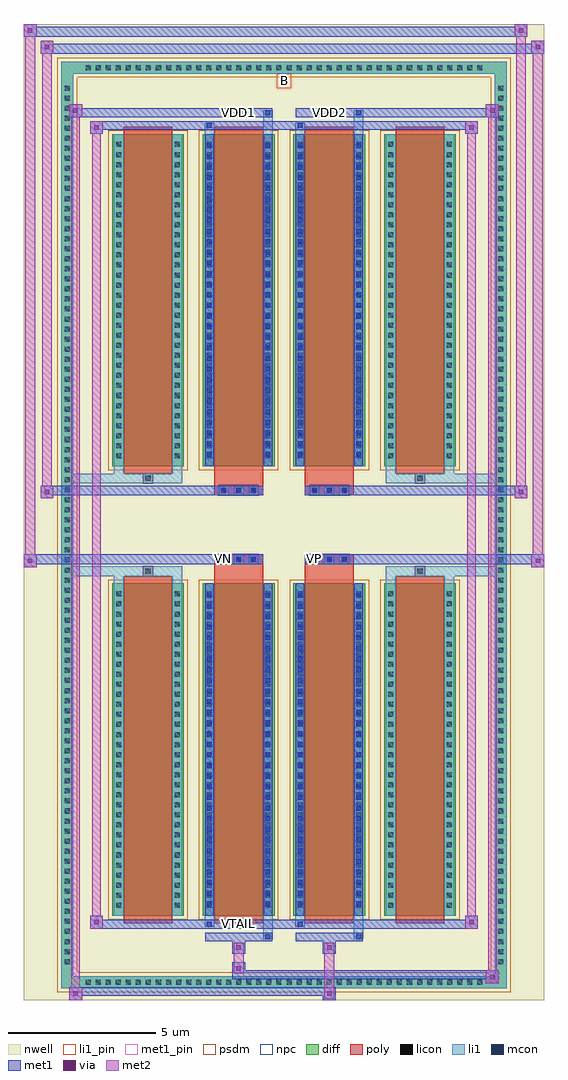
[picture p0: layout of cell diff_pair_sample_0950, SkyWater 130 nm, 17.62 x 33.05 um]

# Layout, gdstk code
import gdstk
lib = gdstk.Library(unit=1e-6, precision=5e-09)
def R(c, l, rs):  # rectangles x0, y0, x1, y1
    for r in rs: c.add(gdstk.rectangle(r[:2], r[2:], *l))
def A(c, l, x, y, w, h, nx, ny, dx, dy):  # array of equal rectangles
    R(c, l, [(x+i*dx, y+j*dy, x+i*dx+w, y+j*dy+h) for i in range(nx) for j in range(ny)])
def P(c, l, *ps):  # polygons
    for p in ps: c.add(gdstk.Polygon(p, *l))
nwell = (64, 20)
diff = (65, 20)
poly = (66, 20)
licon = (66, 44)
li1_pin = (67, 16)
li1 = (67, 20)
mcon = (67, 44)
met1_pin = (68, 16)
met1 = (68, 20)
via = (68, 44)
met2 = (69, 20)
psdm = (94, 20)
npc = (95, 20)

diff_pair_sample_0950 = lib.new_cell('diff_pair_sample_0950')
R(diff_pair_sample_0950, nwell, [(-8.81,-16.09,8.81,16.96), (-6.13,-14.28,-0.01,-0.8), (0.01,-14.28,6.13,-0.8), (-6.13,0.8,-0.01,14.28), (0.01,0.8,6.13,14.28)])
A(diff_pair_sample_0950, diff, -6.835, -15.69, 0.41, 0.41, 40, 2, 0.34, 30.97)
A(diff_pair_sample_0950, diff, -7.54, -14.995, 0.41, 0.41, 1, 88, 0, 0.34)
A(diff_pair_sample_0950, diff, 7.13, -14.995, 0.41, 0.41, 1, 88, 0, 0.34)
A(diff_pair_sample_0950, diff, -5.82, -13.235, 2.43, 11.25, 4, 2, 3.07, 15.22)
R(diff_pair_sample_0950, diff, [(-6.835,-15.69,6.835,-15.28), (-7.54,-14.995,-7.13,14.995), (7.13,-14.995,7.54,14.995), (-6.835,15.28,6.835,15.69)])
P(diff_pair_sample_0950, diff, [(7.54,15.69),(-7.54,15.69),(-7.54,-15.28),(-7.13,-15.28),(-7.13,15.28),(7.13,15.28),(7.13,-15.28),(-7.13,-15.28),(-7.54,-15.28),(-7.54,-15.69),(7.54,-15.69)])
A(diff_pair_sample_0950, poly, -5.43, -13.485, 1.65, 11.75, 4, 2, 3.07, 15.22)
A(diff_pair_sample_0950, poly, -2.2, -1.33, 0.33, 0.33, 3, 2, 0.5, 2.33)
A(diff_pair_sample_0950, poly, 0.87, -1.33, 0.33, 0.33, 3, 2, 0.5, 2.33)
R(diff_pair_sample_0950, poly, [(-4.77,-1.735,-4.44,-1.405), (-4.77,-1.735,-4.44,-1.405), (-2.36,-1.735,-0.71,-1.33), (0.71,-1.735,2.36,-1.33), (4.44,-1.735,4.77,-1.405), (4.44,-1.735,4.77,-1.405), (-2.36,-1.33,-0.71,-1), (0.71,-1.33,2.36,-1), (-2.36,1,-0.71,1.33), (0.71,1,2.36,1.33), (-2.36,1.33,-0.71,1.735), (0.71,1.33,2.36,1.735), (-4.77,1.405,-4.44,1.735), (-4.77,1.405,-4.44,1.735), (4.44,1.405,4.77,1.735), (4.44,1.405,4.77,1.735)])
A(diff_pair_sample_0950, licon, -6.715, -15.57, 0.17, 0.17, 40, 2, 0.34, 30.97)
A(diff_pair_sample_0950, licon, -7.42, -14.875, 0.17, 0.17, 1, 88, 0, 0.34)
A(diff_pair_sample_0950, licon, 7.25, -14.875, 0.17, 0.17, 1, 88, 0, 0.34)
A(diff_pair_sample_0950, licon, -5.68, -12.965, 0.17, 0.17, 1, 32, 0, 0.34)
A(diff_pair_sample_0950, licon, -3.7, -12.965, 0.17, 0.17, 1, 32, 0, 0.34)
A(diff_pair_sample_0950, licon, -2.61, -12.965, 0.17, 0.17, 1, 32, 0, 0.34)
A(diff_pair_sample_0950, licon, -0.63, -12.965, 0.17, 0.17, 1, 32, 0, 0.34)
A(diff_pair_sample_0950, licon, 0.46, -12.965, 0.17, 0.17, 1, 32, 0, 0.34)
A(diff_pair_sample_0950, licon, 2.44, -12.965, 0.17, 0.17, 1, 32, 0, 0.34)
A(diff_pair_sample_0950, licon, 3.53, -12.965, 0.17, 0.17, 1, 32, 0, 0.34)
A(diff_pair_sample_0950, licon, 5.51, -12.965, 0.17, 0.17, 1, 32, 0, 0.34)
A(diff_pair_sample_0950, licon, -2.12, -1.25, 0.17, 0.17, 3, 2, 0.5, 2.33)
A(diff_pair_sample_0950, licon, 0.95, -1.25, 0.17, 0.17, 3, 2, 0.5, 2.33)
A(diff_pair_sample_0950, licon, -5.68, 2.255, 0.17, 0.17, 1, 32, 0, 0.34)
A(diff_pair_sample_0950, licon, -3.7, 2.255, 0.17, 0.17, 1, 32, 0, 0.34)
A(diff_pair_sample_0950, licon, -2.61, 2.255, 0.17, 0.17, 1, 32, 0, 0.34)
A(diff_pair_sample_0950, licon, -0.63, 2.255, 0.17, 0.17, 1, 32, 0, 0.34)
A(diff_pair_sample_0950, licon, 0.46, 2.255, 0.17, 0.17, 1, 32, 0, 0.34)
A(diff_pair_sample_0950, licon, 2.44, 2.255, 0.17, 0.17, 1, 32, 0, 0.34)
A(diff_pair_sample_0950, licon, 3.53, 2.255, 0.17, 0.17, 1, 32, 0, 0.34)
A(diff_pair_sample_0950, licon, 5.51, 2.255, 0.17, 0.17, 1, 32, 0, 0.34)
R(diff_pair_sample_0950, licon, [(-4.69,-1.655,-4.52,-1.485), (4.52,-1.655,4.69,-1.485), (-4.69,1.485,-4.52,1.655), (4.52,1.485,4.69,1.655)])
R(diff_pair_sample_0950, li1_pin, [(-0.25,14.78,0.25,15.28)])
A(diff_pair_sample_0950, li1, -6.795, -15.65, 0.33, 0.33, 40, 2, 0.34, 30.97)
A(diff_pair_sample_0950, li1, -7.5, -14.955, 0.33, 0.33, 1, 88, 0, 0.34)
A(diff_pair_sample_0950, li1, 7.17, -14.955, 0.33, 0.33, 1, 88, 0, 0.34)
A(diff_pair_sample_0950, li1, -5.76, -13.045, 0.33, 0.33, 1, 32, 0, 0.34)
A(diff_pair_sample_0950, li1, -3.78, -13.045, 0.33, 0.33, 1, 32, 0, 0.34)
A(diff_pair_sample_0950, li1, -2.69, -13.045, 0.33, 0.33, 1, 32, 0, 0.34)
A(diff_pair_sample_0950, li1, -0.71, -13.045, 0.33, 0.33, 1, 32, 0, 0.34)
A(diff_pair_sample_0950, li1, 0.38, -13.045, 0.33, 0.33, 1, 32, 0, 0.34)
A(diff_pair_sample_0950, li1, 2.36, -13.045, 0.33, 0.33, 1, 32, 0, 0.34)
A(diff_pair_sample_0950, li1, 3.45, -13.045, 0.33, 0.33, 1, 32, 0, 0.34)
A(diff_pair_sample_0950, li1, 5.43, -13.045, 0.33, 0.33, 1, 32, 0, 0.34)
A(diff_pair_sample_0950, li1, -2.61, -12.915, 0.17, 0.17, 1, 30, 0, 0.36)
A(diff_pair_sample_0950, li1, -0.63, -12.915, 0.17, 0.17, 1, 30, 0, 0.36)
A(diff_pair_sample_0950, li1, 0.46, -12.915, 0.17, 0.17, 1, 30, 0, 0.36)
A(diff_pair_sample_0950, li1, 2.44, -12.915, 0.17, 0.17, 1, 30, 0, 0.36)
A(diff_pair_sample_0950, li1, -2.2, -1.33, 0.33, 0.33, 3, 2, 0.5, 2.33)
A(diff_pair_sample_0950, li1, 0.87, -1.33, 0.33, 0.33, 3, 2, 0.5, 2.33)
A(diff_pair_sample_0950, li1, -5.76, 2.175, 0.33, 0.33, 1, 32, 0, 0.34)
A(diff_pair_sample_0950, li1, -3.78, 2.175, 0.33, 0.33, 1, 32, 0, 0.34)
A(diff_pair_sample_0950, li1, -2.69, 2.175, 0.33, 0.33, 1, 32, 0, 0.34)
A(diff_pair_sample_0950, li1, -0.71, 2.175, 0.33, 0.33, 1, 32, 0, 0.34)
A(diff_pair_sample_0950, li1, 0.38, 2.175, 0.33, 0.33, 1, 32, 0, 0.34)
A(diff_pair_sample_0950, li1, 2.36, 2.175, 0.33, 0.33, 1, 32, 0, 0.34)
A(diff_pair_sample_0950, li1, 3.45, 2.175, 0.33, 0.33, 1, 32, 0, 0.34)
A(diff_pair_sample_0950, li1, 5.43, 2.175, 0.33, 0.33, 1, 32, 0, 0.34)
A(diff_pair_sample_0950, li1, -2.61, 2.305, 0.17, 0.17, 1, 30, 0, 0.36)
A(diff_pair_sample_0950, li1, -0.63, 2.305, 0.17, 0.17, 1, 30, 0, 0.36)
A(diff_pair_sample_0950, li1, 0.46, 2.305, 0.17, 0.17, 1, 30, 0, 0.36)
A(diff_pair_sample_0950, li1, 2.44, 2.305, 0.17, 0.17, 1, 30, 0, 0.36)
R(diff_pair_sample_0950, li1, [(-7.54,-15.69,-7.13,-15.28), (-7.54,-15.69,-7.13,-15.28), (-7.13,-15.69,7.13,-15.28), (7.13,-15.69,7.54,-15.28), (7.13,-15.69,7.54,-15.28), (-7.54,-15.28,-7.13,15.28), (7.13,-15.28,7.54,15.28), (-0.71,-14.04,-0.38,-13.235), (-0.63,-14.04,-0.46,-13.87), (2.36,-14.04,2.69,-13.235), (2.44,-14.04,2.61,-13.87), (-2.69,-13.61,-2.36,-13.235), (-2.61,-13.61,-2.44,-13.44), (0.38,-13.61,0.71,-13.235), (0.46,-13.61,0.63,-13.44), (-5.76,-13.235,-5.43,-1.985), (-3.78,-13.235,-3.45,-1.985), (-2.69,-13.235,-2.36,-1.985), (-0.71,-13.235,-0.38,-1.985), (0.38,-13.235,0.71,-1.985), (2.36,-13.235,2.69,-1.985), (3.45,-13.235,3.78,-1.985), (5.43,-13.235,5.76,-1.985), (-2.61,-12.915,-2.44,-2.305), (-0.63,-12.915,-0.46,-2.305), (0.46,-12.915,0.63,-2.305), (2.44,-12.915,2.61,-2.305), (-5.76,-1.985,-5.43,-1.405), (-3.78,-1.985,-3.45,-1.405), (3.45,-1.985,3.78,-1.405), (5.43,-1.985,5.76,-1.405), (-7.54,-1.735,-4.77,-1.405), (-5.76,-1.735,-4.77,-1.405), (-4.77,-1.735,-4.44,-1.405), (-4.44,-1.735,-3.45,-1.405), (3.45,-1.735,4.44,-1.405), (4.44,-1.735,4.77,-1.405), (4.44,-1.735,7.54,-1.405), (4.77,-1.735,5.76,-1.405), (-7.54,1.405,-4.77,1.735), (-5.76,1.405,-4.77,1.735), (-5.76,1.405,-5.43,1.985), (-4.77,1.405,-4.44,1.735), (-4.44,1.405,-3.45,1.735), (-3.78,1.405,-3.45,1.985), (3.45,1.405,4.44,1.735), (3.45,1.405,3.78,1.985), (4.44,1.405,4.77,1.735), (4.44,1.405,7.54,1.735), (4.77,1.405,5.76,1.735), (5.43,1.405,5.76,1.985), (-5.76,1.985,-5.43,13.235), (-3.78,1.985,-3.45,13.235), (-2.69,1.985,-2.36,13.235), (-0.71,1.985,-0.38,13.235), (0.38,1.985,0.71,13.235), (2.36,1.985,2.69,13.235), (3.45,1.985,3.78,13.235), (5.43,1.985,5.76,13.235), (-2.61,2.305,-2.44,12.915), (-0.63,2.305,-0.46,12.915), (0.46,2.305,0.63,12.915), (2.44,2.305,2.61,12.915), (-2.69,13.235,-2.36,13.61), (-0.71,13.235,-0.38,14.04), (0.38,13.235,0.71,13.61), (2.36,13.235,2.69,14.04), (-2.61,13.44,-2.44,13.61), (0.46,13.44,0.63,13.61), (-0.63,13.87,-0.46,14.04), (2.44,13.87,2.61,14.04), (-7.54,15.28,-7.13,15.69), (-7.54,15.28,-7.13,15.69), (-7.13,15.28,7.13,15.69), (7.13,15.28,7.54,15.69), (7.13,15.28,7.54,15.69)])
A(diff_pair_sample_0950, mcon, -2.61, -12.915, 0.17, 0.17, 1, 30, 0, 0.36)
A(diff_pair_sample_0950, mcon, -0.63, -12.915, 0.17, 0.17, 1, 30, 0, 0.36)
A(diff_pair_sample_0950, mcon, 0.46, -12.915, 0.17, 0.17, 1, 30, 0, 0.36)
A(diff_pair_sample_0950, mcon, 2.44, -12.915, 0.17, 0.17, 1, 30, 0, 0.36)
A(diff_pair_sample_0950, mcon, -2.12, -1.25, 0.17, 0.17, 3, 2, 0.5, 2.33)
A(diff_pair_sample_0950, mcon, 0.95, -1.25, 0.17, 0.17, 3, 2, 0.5, 2.33)
A(diff_pair_sample_0950, mcon, -2.61, 2.305, 0.17, 0.17, 1, 30, 0, 0.36)
A(diff_pair_sample_0950, mcon, -0.63, 2.305, 0.17, 0.17, 1, 30, 0, 0.36)
A(diff_pair_sample_0950, mcon, 0.46, 2.305, 0.17, 0.17, 1, 30, 0, 0.36)
A(diff_pair_sample_0950, mcon, 2.44, 2.305, 0.17, 0.17, 1, 30, 0, 0.36)
R(diff_pair_sample_0950, mcon, [(-0.63,-14.04,-0.46,-13.87), (2.44,-14.04,2.61,-13.87), (-2.61,-13.61,-2.44,-13.44), (0.46,-13.61,0.63,-13.44), (-2.61,13.44,-2.44,13.61), (0.46,13.44,0.63,13.61), (-0.63,13.87,-0.46,14.04), (2.44,13.87,2.61,14.04)])
R(diff_pair_sample_0950, met1_pin, [(-1.67,-13.65,-1.4,-13.38), (-2.17,-1.29,-1.9,-1.02), (0.9,-1.29,1.17,-1.02), (-1.67,13.83,-1.4,14.1), (1.4,13.83,1.67,14.1)])
A(diff_pair_sample_0950, met1, -2.67, -12.975, 0.29, 0.29, 1, 30, 0, 0.36)
A(diff_pair_sample_0950, met1, -0.69, -12.975, 0.29, 0.29, 1, 30, 0, 0.36)
A(diff_pair_sample_0950, met1, 0.4, -12.975, 0.29, 0.29, 1, 30, 0, 0.36)
A(diff_pair_sample_0950, met1, 2.38, -12.975, 0.29, 0.29, 1, 30, 0, 0.36)
A(diff_pair_sample_0950, met1, -2.18, -1.31, 0.29, 0.29, 3, 2, 0.5, 2.33)
A(diff_pair_sample_0950, met1, 0.89, -1.31, 0.29, 0.29, 3, 2, 0.5, 2.33)
A(diff_pair_sample_0950, met1, -2.67, 2.245, 0.29, 0.29, 1, 30, 0, 0.36)
A(diff_pair_sample_0950, met1, -0.69, 2.245, 0.29, 0.29, 1, 30, 0, 0.36)
A(diff_pair_sample_0950, met1, 0.4, 2.245, 0.29, 0.29, 1, 30, 0, 0.36)
A(diff_pair_sample_0950, met1, 2.38, 2.245, 0.29, 0.29, 1, 30, 0, 0.36)
R(diff_pair_sample_0950, met1, [(-7.27,-16.09,-6.84,-15.66), (1.32,-16.09,1.75,-15.66), (-7.27,-15.95,1.75,-15.66), (6.84,-15.52,7.27,-15.09), (-1.75,-15.38,7.27,-15.09), (-1.75,-15.24,-1.32,-14.81), (-1.75,-14.53,-1.32,-14.1), (1.32,-14.53,1.75,-14.1), (-2.67,-14.1,-0.4,-13.81), (-0.69,-14.1,-0.4,-13.81), (0.4,-14.1,2.67,-13.81), (2.38,-14.1,2.67,-13.81), (-6.56,-13.67,-6.13,-13.24), (-6.56,-13.67,-2.67,-13.38), (-2.67,-13.67,-2.38,-13.38), (-2.67,-13.67,-0.4,-13.38), (-0.4,-13.67,0.4,-13.38), (0.4,-13.67,0.69,-13.38), (0.4,-13.67,2.67,-13.38), (2.67,-13.67,6.56,-13.38), (6.13,-13.67,6.56,-13.24), (-2.67,-13.235,-2.38,-1.985), (-0.69,-13.235,-0.4,-1.985), (0.4,-13.235,0.69,-1.985), (2.38,-13.235,2.67,-1.985), (-8.81,-1.43,-8.38,-1), (8.38,-1.43,8.81,-1), (-8.81,-1.33,-0.71,-1), (-2.36,-1.33,-0.71,-1), (0.71,-1.33,2.36,-1), (0.71,-1.33,8.81,-1), (-8.24,0.9,-7.81,1.33), (7.81,0.9,8.24,1.33), (-8.24,1,-2.36,1.33), (-2.36,1,-0.71,1.33), (0.71,1,2.36,1.33), (2.36,1,8.24,1.33), (-2.67,1.985,-2.38,13.235), (-0.69,1.985,-0.4,13.235), (0.4,1.985,0.69,13.235), (2.38,1.985,2.67,13.235), (-6.56,13.24,-6.13,13.67), (6.13,13.24,6.56,13.67), (-6.56,13.38,-2.67,13.67), (-2.67,13.38,-2.38,13.67), (-2.67,13.38,-0.4,13.67), (-0.4,13.38,0.4,13.67), (0.4,13.38,0.69,13.67), (0.4,13.38,2.67,13.67), (2.67,13.38,6.56,13.67), (-7.27,13.81,-6.84,14.24), (-7.27,13.81,-2.67,14.1), (-2.67,13.81,-0.4,14.1), (-0.69,13.81,-0.4,14.1), (0.4,13.81,2.67,14.1), (2.38,13.81,2.67,14.1), (2.67,13.81,7.27,14.1), (6.84,13.81,7.27,14.24), (-8.24,15.96,-7.81,16.39), (-8.24,15.96,-6.13,16.29), (-6.13,15.96,6.13,16.29), (6.13,15.96,8.81,16.29), (8.38,15.96,8.81,16.39), (-8.81,16.53,-8.38,16.96), (-8.81,16.53,-6.13,16.86), (-6.13,16.53,6.13,16.86), (6.13,16.53,8.24,16.86), (7.81,16.53,8.24,16.96)])
R(diff_pair_sample_0950, via, [(-7.13,-15.95,-6.98,-15.8), (1.46,-15.95,1.61,-15.8), (6.98,-15.38,7.13,-15.23), (-1.61,-15.1,-1.46,-14.95), (-1.61,-14.39,-1.46,-14.24), (1.46,-14.39,1.61,-14.24), (-6.42,-13.53,-6.27,-13.38), (6.27,-13.53,6.42,-13.38), (-8.67,-1.29,-8.52,-1.14), (8.52,-1.29,8.67,-1.14), (-8.1,1.04,-7.95,1.19), (7.95,1.04,8.1,1.19), (-6.42,13.38,-6.27,13.53), (6.27,13.38,6.42,13.53), (-7.13,13.95,-6.98,14.1), (6.98,13.95,7.13,14.1), (-8.1,16.1,-7.95,16.25), (8.52,16.1,8.67,16.25), (-8.67,16.67,-8.52,16.82), (7.95,16.67,8.1,16.82)])
R(diff_pair_sample_0950, met2, [(-7.27,-16.09,-6.84,-15.66), (-7.2,-16.09,-6.91,14.24), (-6.91,-16.09,-6.84,-15.66), (-7.22,-16.04,-6.89,-15.71), (1.37,-16.04,1.7,-15.71), (1.37,-15.71,1.7,-14.48), (6.84,-15.52,7.27,-15.09), (6.91,-15.52,7.2,14.24), (7.2,-15.52,7.27,-15.09), (6.89,-15.47,7.22,-15.14), (-1.7,-15.19,-1.37,-14.86), (-1.7,-14.86,-1.37,-14.48), (-1.7,-14.48,-1.37,-14.15), (1.37,-14.48,1.7,-14.15), (-6.56,-13.67,-6.13,-13.24), (-6.49,-13.67,-6.2,13.67), (-6.2,-13.67,-6.13,-13.24), (6.13,-13.67,6.56,-13.24), (6.2,-13.67,6.49,13.67), (6.49,-13.67,6.56,-13.24), (-6.51,-13.62,-6.18,-13.29), (6.18,-13.62,6.51,-13.29), (-8.81,-1.43,-8.38,-1), (-8.76,-1.43,-8.43,16.96), (-8.43,-1.43,-8.38,-1), (8.38,-1.43,8.81,-1), (8.43,-1.43,8.76,16.39), (8.76,-1.43,8.81,-1), (-8.76,-1.38,-8.43,-1.05), (8.43,-1.38,8.76,-1.05), (-8.24,0.9,-7.81,1.33), (-8.19,0.9,-7.86,16.39), (-7.86,0.9,-7.81,1.33), (7.81,0.9,8.24,1.33), (7.86,0.9,8.19,16.96), (8.19,0.9,8.24,1.33), (-8.19,0.95,-7.86,1.28), (7.86,0.95,8.19,1.28), (-6.56,13.24,-6.13,13.67), (-6.2,13.24,-6.13,13.67), (6.13,13.24,6.56,13.67), (6.49,13.24,6.56,13.67), (-6.51,13.29,-6.18,13.62), (6.18,13.29,6.51,13.62), (-7.27,13.81,-6.84,14.24), (-6.91,13.81,-6.84,14.24), (6.84,13.81,7.27,14.24), (7.2,13.81,7.27,14.24), (-7.22,13.86,-6.89,14.19), (6.89,13.86,7.22,14.19), (-8.24,15.96,-7.81,16.39), (-7.86,15.96,-7.81,16.39), (8.38,15.96,8.81,16.39), (8.76,15.96,8.81,16.39), (-8.19,16.01,-7.86,16.34), (8.43,16.01,8.76,16.34), (-8.81,16.53,-8.38,16.96), (-8.43,16.53,-8.38,16.96), (7.81,16.53,8.24,16.96), (8.19,16.53,8.24,16.96), (-8.76,16.58,-8.43,16.91), (7.86,16.58,8.19,16.91)])
A(diff_pair_sample_0950, psdm, -5.95, -13.365, 2.69, 11.51, 4, 2, 3.07, 15.22)
P(diff_pair_sample_0950, psdm, [(7.67,15.82),(-7.67,15.82),(-7.67,-15.15),(-7,-15.15),(-7,15.15),(7,15.15),(7,-15.15),(-7,-15.15),(-7.67,-15.15),(-7.67,-15.82),(7.67,-15.82)])
A(diff_pair_sample_0950, npc, -2.22, -1.35, 0.37, 0.37, 3, 2, 0.5, 2.33)
A(diff_pair_sample_0950, npc, 0.85, -1.35, 0.37, 0.37, 3, 2, 0.5, 2.33)
R(diff_pair_sample_0950, npc, [(-4.79,-1.755,-4.42,-1.385), (4.42,-1.755,4.79,-1.385), (-2.22,-1.35,-1.35,-0.98), (-2.22,-1.35,-1.35,-0.98), (-1.72,-1.35,-0.85,-0.98), (-1.72,-1.35,-0.85,-0.98), (0.85,-1.35,1.72,-0.98), (0.85,-1.35,1.72,-0.98), (1.35,-1.35,2.22,-0.98), (1.35,-1.35,2.22,-0.98), (-2.22,0.98,-1.35,1.35), (-2.22,0.98,-1.35,1.35), (-1.72,0.98,-0.85,1.35), (-1.72,0.98,-0.85,1.35), (0.85,0.98,1.72,1.35), (0.85,0.98,1.72,1.35), (1.35,0.98,2.22,1.35), (1.35,0.98,2.22,1.35), (-4.79,1.385,-4.42,1.755), (4.42,1.385,4.79,1.755)])
diff_pair_sample_0950.add(gdstk.Label('VTAIL', (-1.535,-13.515), layer=68, texttype=5))
diff_pair_sample_0950.add(gdstk.Label('VN', (-2.035,-1.155), layer=68, texttype=5))
diff_pair_sample_0950.add(gdstk.Label('VP', (1.035,-1.155), layer=68, texttype=5))
diff_pair_sample_0950.add(gdstk.Label('B', (0,15.03), layer=67, texttype=5))
diff_pair_sample_0950.add(gdstk.Label('VDD2', (1.535,13.965), layer=68, texttype=5))
diff_pair_sample_0950.add(gdstk.Label('VDD1', (-1.535,13.965), layer=68, texttype=5))

lib.write_gds('diff_pair_sample_0950.gds')
